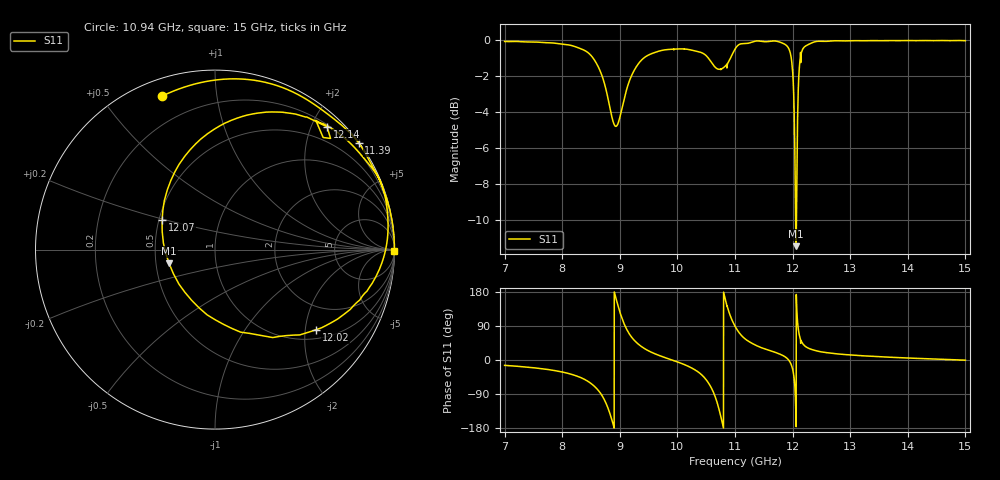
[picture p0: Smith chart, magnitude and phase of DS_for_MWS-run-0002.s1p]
! TOUCHSTONE file generated by CST DESIGN STUDIO
! Date and time: Mon Feb 10 16:41:27 2025
! Project name: C:\Work\MatlabApps\UnitCellType2OptimizationMatlab\CST\unitcell.cst
! Tree item: Tasks\Sweep1\SPara1\S-Parameters
! Header version: 2024
! Port assignment regex: !\s*Touchstone port\s*([0-9]+)\s*=\s*(CST MWS port|CST DES external port|CST DES block port)\s*(.+)\s* \(\"(.*)\"\)(\s*mode\s*([0-9]+))?.*
! Touchstone port assignment:
! Touchstone port 1 = CST DES external port 1 ("")
# GHz S MA R 50
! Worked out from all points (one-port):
!   4001 points, 7 GHz to 15 GHz, reference 50 ohm
!   lowest |S11| = -11.5 dB at 12.06 GHz (marker M1), VSWR 1.73, Z = 29.3 - j4.85 ohm
!   |S11| at or under -10 dB: 12.05157 GHz to 12.0664 GHz (14.83 MHz wide, 0.123 % of centre)
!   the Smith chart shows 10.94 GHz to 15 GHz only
!   S11 on the Smith chart (normalised r, x): 10.94 GHz: 0.08, +0.71; 11.39 GHz: 0.02, +3.02; 12.02 GHz: 1.24, -2.29; 12.07 GHz: 0.52, +0.19; 12.14 GHz: 0.23, +2.25; 15 GHz: open
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7  0.9939 -14.1
8  0.9766 -31.6
8.412  0.9336 -53.1
8.684  0.8031 -92.1
8.864  0.6108 -158.8
9  0.6097 127.4
9.132  0.7428 77.3
9.366  0.8781 36.6
10  0.9469 -5.0
10.422  0.9244 -39.2
10.65  0.8442 -94.4
10.722  0.8311 -129.7
10.796  0.8388 -177.0
10.938  0.9043 109.1
11  0.9461 89.2
11.152  0.98 58.7
11.392  0.997 36.7
11.846  0.9795 10.6
12  0.8241 -23.8
12.018  0.7186 -38.4
12.06  0.2672 -163.3
12.068  0.337 151.1
12.106  0.7854 74.3
12.138  0.9262 47.6
12.328  0.9839 28.0
13  0.9987 13.3
14  0.9995 5.3
15  0.9987 -0.5
